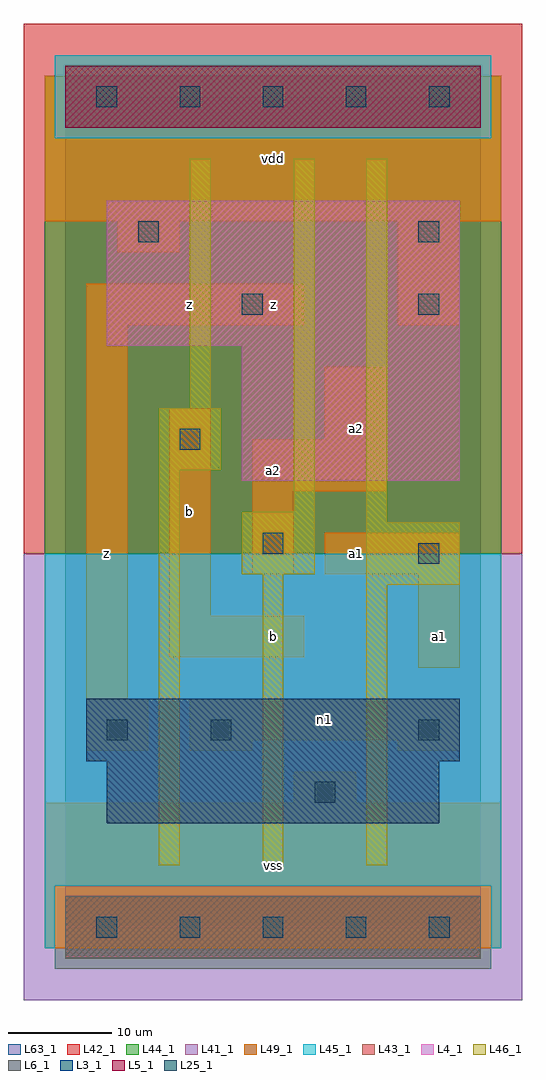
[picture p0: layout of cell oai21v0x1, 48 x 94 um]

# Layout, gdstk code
import gdstk
lib = gdstk.Library(unit=1e-6, precision=1e-09)
def R(c, l, rs):  # rectangles x0, y0, x1, y1
    for r in rs: c.add(gdstk.rectangle(r[:2], r[2:], *l))
def A(c, l, x, y, w, h, nx, ny, dx, dy):  # array of equal rectangles
    R(c, l, [(x+i*dx, y+j*dy, x+i*dx+w, y+j*dy+h) for i in range(nx) for j in range(ny)])
L3_1 = (3, 1)
L4_1 = (4, 1)
L5_1 = (5, 1)
L6_1 = (6, 1)
L25_1 = (25, 1)
L41_1 = (41, 1)
L42_1 = (42, 1)
L43_1 = (43, 1)
L44_1 = (44, 1)
L45_1 = (45, 1)
L46_1 = (46, 1)
L49_1 = (49, 1)
L63_1 = (63, 1)

oai21v0x1 = lib.new_cell('oai21v0x1')
R(oai21v0x1, L3_1, [(4,10,36,16), (2,16,38,22)])
R(oai21v0x1, L4_1, [(17,43,38,56), (4,56,38,70)])
R(oai21v0x1, L5_1, [(0,77,40,83)])
R(oai21v0x1, L6_1, [(0,-3,40,3), (0,-3,40,3)])
A(oai21v0x1, L25_1, 3, -1, 2, 2, 5, 2, 8, 80)
R(oai21v0x1, L25_1, [(24,12,26,14), (4,18,6,20), (14,18,16,20), (34,18,36,20), (34,35,36,37), (19,36,21,38), (11,46,13,48), (17,59,19,61), (34,59,36,61), (7,66,9,68), (34,66,36,68)])
R(oai21v0x1, L41_1, [(-4,-7,44,36)])
R(oai21v0x1, L42_1, [(-4,36,44,87)])
R(oai21v0x1, L43_1, [(0,-3,40,3), (4,10,36,16), (2,16,38,22), (17,43,38,56), (4,56,38,70), (0,77,40,83)])
R(oai21v0x1, L44_1, [(-1,-4,41,4), (-2,36,42,76), (-2,76,-1,82), (41,76,42,82)])
R(oai21v0x1, L45_1, [(-2,-2,-1,4), (41,-2,42,4), (-2,4,42,36), (-1,76,41,84)])
R(oai21v0x1, L46_1, [(9,6,11,44), (19,6,21,34), (29,6,31,33), (29,33,38,39), (17,34,24,40), (29,39,31,74), (22,40,24,74), (9,44,15,50), (12,50,14,74)])
R(oai21v0x1, L49_1, [(-2,-2,42,12), (22,12,28,15), (2,17,8,22), (12,17,18,18), (32,17,38,18), (12,18,38,22), (2,22,6,58), (34,25,38,34), (10,26,23,30), (10,30,14,50), (18,34,22,42), (25,34,38,38), (18,42,31,47), (25,47,31,54), (2,58,23,62), (32,58,38,68), (5,65,11,68), (-2,68,42,82)])
R(oai21v0x1, L63_1, [(0,0,40,80)])
oai21v0x1.add(gdstk.Label('z', (4,36), layer=49, texttype=1))
oai21v0x1.add(gdstk.Label('b', (12,40), layer=49, texttype=1))
oai21v0x1.add(gdstk.Label('z', (12,60), layer=49, texttype=1))
oai21v0x1.add(gdstk.Label('vss', (20,6), layer=49, texttype=1))
oai21v0x1.add(gdstk.Label('b', (20,28), layer=49, texttype=1))
oai21v0x1.add(gdstk.Label('a1', (28,36), layer=49, texttype=1))
oai21v0x1.add(gdstk.Label('a2', (20,44), layer=49, texttype=1))
oai21v0x1.add(gdstk.Label('a2', (28,48), layer=49, texttype=1))
oai21v0x1.add(gdstk.Label('z', (20,60), layer=49, texttype=1))
oai21v0x1.add(gdstk.Label('vdd', (20,74), layer=49, texttype=1))
oai21v0x1.add(gdstk.Label('n1', (25,20), layer=49, texttype=1))
oai21v0x1.add(gdstk.Label('a1', (36,28), layer=49, texttype=1))

lib.write_gds('oai21v0x1.gds')
